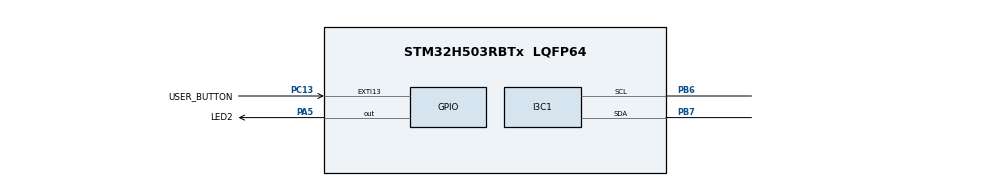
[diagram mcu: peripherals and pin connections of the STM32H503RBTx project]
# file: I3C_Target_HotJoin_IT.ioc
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I3C1.HotJoinRequest=ENABLE
I3C1.Identifier=0xC6
I3C1.MIPIIdentifier=DEVICE_ID
I3C1.Register1=0x000000f8
I3C1.hexBusAvailableDuration=0xf8
Mcu.Family=STM32H5
Mcu.Name=STM32H503RBTx
Mcu.Package=LQFP64
Mcu.UserConstants=DEVICE_ID,0x01
NVIC.EXTI13_IRQn=true\:0\:0\:false\:false\:true\:true\:true\:true
NVIC.I3C1_ER_IRQn=true\:0\:0\:false\:false\:true\:true\:true\:true
NVIC.I3C1_EV_IRQn=true\:0\:0\:false\:false\:true\:true\:true\:true
NVIC.PriorityGroup=NVIC_PRIORITYGROUP_4
PA5.GPIO_Label=LED2
PA5.Signal=GPIO_Output
PB6.Mode=Target
PB6.Signal=I3C1_SCL
PB7.Mode=Target
PB7.Signal=I3C1_SDA
PC13.GPIO_Label=USER_BUTTON
PC13.GPIO_PuPd=GPIO_PULLDOWN
PC13.Signal=GPXTI13
PH0-OSC_IN(PH0).Mode=HSE-External-Oscillator
PH0-OSC_IN(PH0).Signal=RCC_OSC_IN
PH1-OSC_OUT(PH1).Mode=HSE-External-Oscillator
PH1-OSC_OUT(PH1).Signal=RCC_OSC_OUT
ProjectManager.HeapSize=0x200
ProjectManager.StackSize=0x400
ProjectManager.TargetToolchain=EWARM V9.20
RCC.ADCFreq_Value=250000000
RCC.AHBFreq_Value=250000000
RCC.APB1Freq_Value=250000000
RCC.APB1TimFreq_Value=250000000
RCC.APB2Freq_Value=250000000
RCC.APB2TimFreq_Value=250000000
RCC.APB3Freq_Value=250000000
RCC.CSI_VALUE=4000000
RCC.CortexFreq_Value=250000000
RCC.EPOD_VALUE=24000000
RCC.HCLKFreq_Value=250000000
RCC.HSE_VALUE=24000000
RCC.HSI48_VALUE=48000000
RCC.HSIDiv=RCC_HSI_DIV1
RCC.HSI_VALUE=64000000
RCC.LSE_VALUE=32768
RCC.LSIRC_VALUE=32000
RCC.PLLFRACN=0
RCC.PLLM=12
RCC.PLLN=250
RCC.PLLSourceVirtual=RCC_PLL1_SOURCE_HSE
RCC.PWR_Regulator_Voltage_Scale=PWR_REGULATOR_VOLTAGE_SCALE0
RCC.SYSCLKFreq_VALUE=250000000
RCC.SYSCLKSource=RCC_SYSCLKSOURCE_PLLCLK
RCC.USBFreq_Value=48000000
RCC.VCOOutputFreq_Value=500000000
VP_ICACHE_VS_ICACHE.Mode=DefaultMode
VP_PWR_VS_SECSignals.Mode=Security/Privilege
board=custom

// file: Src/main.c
/* USER CODE BEGIN Header */
/**
  ******************************************************************************
  * @file    I3C/I3C_Target_HotJoin_IT/Src/main.c
  * @author  MCD Application Team
  * @brief   This sample code shows how to use STM32H5xx I3C LL API to
  *          launch a HotJoin procedure to a Controller with a communication
  *          process based on Interrupt transfer.
  ******************************************************************************
  * @attention
  *
  * Copyright (c) 2023 STMicroelectronics.
  * All rights reserved.
  *
  * This software is licensed under terms that can be found in the LICENSE file
  * in the root directory of this software component.
  * If no LICENSE file comes with this software, it is provided AS-IS.
  *
  ******************************************************************************
  */
/* USER CODE END Header */
#include "main.h"

/* USER CODE BEGIN PV */
__IO uint8_t ubButtonPress = 0;

/*The returned dynamic address value after the hot join process.*/
__IO uint8_t ubDynamicAddress;

/* Completion status */
__IO uint8_t ubHJComplete = 0;
/* USER CODE END PV */

void SystemClock_Config(void);
static void MX_GPIO_Init(void);
static void MX_I3C1_Init(void);
static void MX_ICACHE_Init(void);
/* USER CODE BEGIN PFP */
void LED_On(void);
void LED_Off(void);
void LED_Toggle(void);
void LED_Blinking(uint32_t Period);
void WaitForUserButtonPress(void);
void Handle_HOTJOIN_Target(void);
/* USER CODE END PFP */

int main(void)
{

  /* MCU Configuration--------------------------------------------------------*/

  /* Reset of all peripherals, Initializes the Flash interface and the Systick. */

  /* System interrupt init*/
  NVIC_SetPriorityGrouping(NVIC_PRIORITYGROUP_4);

  /* SysTick_IRQn interrupt configuration */
  NVIC_SetPriority(SysTick_IRQn, NVIC_EncodePriority(NVIC_GetPriorityGrouping(),15, 0));

  /* Configure the system clock */
  SystemClock_Config();

  /* Initialize all configured peripherals */
  MX_GPIO_Init();
  MX_I3C1_Init();
  MX_ICACHE_Init();
  /* USER CODE BEGIN 2 */
  /* Set LED2 Off */
  LED_Off();

  /*##- Request a Hot Join to the Controller #############################*/

  /* Wait for USER push-button press to start transfer */
  WaitForUserButtonPress();

  /* Handle HotJoin request */
  Handle_HOTJOIN_Target();

  /* Wait end of HJ completion, corresponding to the end of
  Dynamic Address Assignment procedure */
  while(ubHJComplete == 0U);
  /* USER CODE END 2 */

  /* Infinite loop */
  while (1)
  {

  }
}

void SystemClock_Config(void)
{
  LL_FLASH_SetLatency(LL_FLASH_LATENCY_5);
  while(LL_FLASH_GetLatency()!= LL_FLASH_LATENCY_5)
  {
  }

  LL_PWR_SetRegulVoltageScaling(LL_PWR_REGU_VOLTAGE_SCALE0);
  while (LL_PWR_IsActiveFlag_VOS() == 0)
  {
  }
  LL_RCC_HSE_Enable();

   /* Wait till HSE is ready */
  while(LL_RCC_HSE_IsReady() != 1)
  {
  }

  LL_RCC_PLL1_SetSource(LL_RCC_PLL1SOURCE_HSE);
  LL_RCC_PLL1_SetVCOInputRange(LL_RCC_PLLINPUTRANGE_2_4);
  LL_RCC_PLL1_SetVCOOutputRange(LL_RCC_PLLVCORANGE_WIDE);
  LL_RCC_PLL1_SetM(12);
  LL_RCC_PLL1_SetN(250);
  LL_RCC_PLL1_SetP(2);
  LL_RCC_PLL1_SetQ(2);
  LL_RCC_PLL1_SetR(2);
  LL_RCC_PLL1P_Enable();
  LL_RCC_PLL1_Enable();

   /* Wait till PLL is ready */
  while(LL_RCC_PLL1_IsReady() != 1)
  {
  }

  LL_RCC_SetSysClkSource(LL_RCC_SYS_CLKSOURCE_PLL1);

   /* Wait till System clock is ready */
  while(LL_RCC_GetSysClkSource() != LL_RCC_SYS_CLKSOURCE_STATUS_PLL1)
  {
  }

  LL_RCC_SetAHBPrescaler(LL_RCC_SYSCLK_DIV_1);
  LL_RCC_SetAPB1Prescaler(LL_RCC_APB1_DIV_1);
  LL_RCC_SetAPB2Prescaler(LL_RCC_APB2_DIV_1);
  LL_RCC_SetAPB3Prescaler(LL_RCC_APB3_DIV_1);

  LL_Init1msTick(250000000);

  LL_SetSystemCoreClock(250000000);
}

static void MX_I3C1_Init(void)
{

  LL_GPIO_InitTypeDef GPIO_InitStruct = {0};

  LL_RCC_SetI3CClockSource(LL_RCC_I3C1_CLKSOURCE_PCLK1);

  /* Peripheral clock enable */
  LL_APB1_GRP1_EnableClock(LL_APB1_GRP1_PERIPH_I3C1);

  LL_AHB2_GRP1_EnableClock(LL_AHB2_GRP1_PERIPH_GPIOB);
  /**I3C1 GPIO Configuration
  PB6   ------> I3C1_SCL
  PB7   ------> I3C1_SDA
  */
  GPIO_InitStruct.Pin = LL_GPIO_PIN_6|LL_GPIO_PIN_7;
  GPIO_InitStruct.Mode = LL_GPIO_MODE_ALTERNATE;
  GPIO_InitStruct.Speed = LL_GPIO_SPEED_FREQ_VERY_HIGH;
  GPIO_InitStruct.Pull = LL_GPIO_PULL_NO;
  GPIO_InitStruct.Alternate = LL_GPIO_AF_3;
  LL_GPIO_Init(GPIOB, &GPIO_InitStruct);

  /* I3C1 interrupt Init */
  NVIC_SetPriority(I3C1_EV_IRQn, NVIC_EncodePriority(NVIC_GetPriorityGrouping(),0, 0));
  NVIC_EnableIRQ(I3C1_EV_IRQn);
  NVIC_SetPriority(I3C1_ER_IRQn, NVIC_EncodePriority(NVIC_GetPriorityGrouping(),0, 0));
  NVIC_EnableIRQ(I3C1_ER_IRQn);

  /** I3C Initialization
  */
  LL_I3C_SetMode(I3C1, LL_I3C_MODE_TARGET);
  LL_I3C_SetAvalTiming(I3C1, 0x000000f8);

  /** Configure FIFO
  */
  LL_I3C_SetRxFIFOThreshold(I3C1, LL_I3C_RXFIFO_THRESHOLD_1_4);
  LL_I3C_SetTxFIFOThreshold(I3C1, LL_I3C_TXFIFO_THRESHOLD_1_4);
  LL_I3C_DisableControlFIFO(I3C1);
  LL_I3C_DisableStatusFIFO(I3C1);

  /** Configure Target
  */
  LL_I3C_SetDeviceCharacteristics(I3C1, 0xC6);
  LL_I3C_SetMIPIInstanceID(I3C1, DEVICE_ID);
  LL_I3C_DisableControllerRoleReq(I3C1);
  LL_I3C_EnableHotJoin(I3C1);
  LL_I3C_DisableIBI(I3C1);
  LL_I3C_SetDeviceIBIPayload(I3C1, LL_I3C_IBI_NO_ADDITIONAL_DATA);
  LL_I3C_ConfigNbIBIAddData(I3C1, LL_I3C_PAYLOAD_1_BYTE);
  LL_I3C_SetMaxReadLength(I3C1, 0);
  LL_I3C_SetMaxWriteLength(I3C1, 0);
  LL_I3C_SetDeviceCapabilityOnBus(I3C1, LL_I3C_DEVICE_ROLE_AS_TARGET);
  LL_I3C_SetGrpAddrHandoffSupport(I3C1, LL_I3C_HANDOFF_GRP_ADDR_NOT_SUPPORTED);
  LL_I3C_SetDataTurnAroundTime(I3C1, LL_I3C_TURNAROUND_TIME_TSCO_LESS_12NS);
  LL_I3C_SetMiddleByteTurnAround(I3C1, 0);
  LL_I3C_SetDataSpeedLimitation(I3C1, LL_I3C_NO_DATA_SPEED_LIMITATION);
  LL_I3C_SetMaxDataSpeedFormat(I3C1, LL_I3C_GETMXDS_FORMAT_1);
  LL_I3C_SetHandoffActivityState(I3C1, LL_I3C_HANDOFF_ACTIVITY_STATE_0);
  LL_I3C_SetControllerHandoffDelayed(I3C1, LL_I3C_HANDOFF_NOT_DELAYED);
  LL_I3C_SetPendingReadMDB(I3C1, LL_I3C_MDB_NO_PENDING_READ_NOTIFICATION);

  /** Enable the selected I3C peripheral
  */
  LL_I3C_Enable(I3C1);
  /* USER CODE BEGIN I3C1_Init 2 */
  LL_I3C_EnableIT_DAUPD(I3C1);
  LL_I3C_EnableIT_ERR(I3C1);
  /* USER CODE END I3C1_Init 2 */

}

static void MX_ICACHE_Init(void)
{

  /** Enable instruction cache (default 2-ways set associative cache)
  */
  LL_ICACHE_Enable();

}

static void MX_GPIO_Init(void)
{
  LL_EXTI_InitTypeDef EXTI_InitStruct = {0};
  LL_GPIO_InitTypeDef GPIO_InitStruct = {0};

  /* GPIO Ports Clock Enable */
  LL_AHB2_GRP1_EnableClock(LL_AHB2_GRP1_PERIPH_GPIOC);
  LL_AHB2_GRP1_EnableClock(LL_AHB2_GRP1_PERIPH_GPIOH);
  LL_AHB2_GRP1_EnableClock(LL_AHB2_GRP1_PERIPH_GPIOA);
  LL_AHB2_GRP1_EnableClock(LL_AHB2_GRP1_PERIPH_GPIOB);

  /**/
  LL_GPIO_ResetOutputPin(LED2_GPIO_Port, LED2_Pin);

  /**/
  LL_EXTI_SetEXTISource(LL_EXTI_EXTI_PORTC, LL_EXTI_EXTI_LINE13);

  /**/
  EXTI_InitStruct.Line_0_31 = LL_EXTI_LINE_13;
  EXTI_InitStruct.Line_32_63 = LL_EXTI_LINE_NONE;
  EXTI_InitStruct.LineCommand = ENABLE;
  EXTI_InitStruct.Mode = LL_EXTI_MODE_IT;
  EXTI_InitStruct.Trigger = LL_EXTI_TRIGGER_RISING;
  LL_EXTI_Init(&EXTI_InitStruct);

  /**/
  LL_GPIO_SetPinPull(USER_BUTTON_GPIO_Port, USER_BUTTON_Pin, LL_GPIO_PULL_DOWN);

  /**/
  LL_GPIO_SetPinMode(USER_BUTTON_GPIO_Port, USER_BUTTON_Pin, LL_GPIO_MODE_INPUT);

  /**/
  GPIO_InitStruct.Pin = LED2_Pin;
  GPIO_InitStruct.Mode = LL_GPIO_MODE_OUTPUT;
  GPIO_InitStruct.Speed = LL_GPIO_SPEED_FREQ_LOW;
  GPIO_InitStruct.OutputType = LL_GPIO_OUTPUT_PUSHPULL;
  GPIO_InitStruct.Pull = LL_GPIO_PULL_NO;
  LL_GPIO_Init(LED2_GPIO_Port, &GPIO_InitStruct);

  /* EXTI interrupt init*/
  NVIC_SetPriority(EXTI13_IRQn, NVIC_EncodePriority(NVIC_GetPriorityGrouping(),0, 0));
  NVIC_EnableIRQ(EXTI13_IRQn);

}

/* USER CODE BEGIN 4 */
/**
  * @brief  This Function handle Target events to perform a HotJoin process
  * @note  This function is composed in one step :
  *        -1- Initiate the Hot Join request.
  * @param  None
  * @retval None
  */
void Handle_HOTJOIN_Target(void)
{
  /* (1) Initiate a Hot Join Request to the Controller connected on the bus ***********************/
  /* Target initiate a Start condition to inform Controller that Target request a Dynamic Address.
  */
  LL_I3C_TargetHandleMessage(I3C1, LL_I3C_TARGET_MTYPE_HOT_JOIN, 0U);
}

/**
  * @brief  Turn-on LED2.
  * @param  None
  * @retval None
  */
void LED_On(void)
{
  /* Turn LED2 on */
  LL_GPIO_SetOutputPin(LED2_GPIO_Port, LED2_Pin);
}

/**
  * @brief  Turn-off LED2.
  * @param  None
  * @retval None
  */
void LED_Off(void)
{
  /* Turn LED2 off */
  LL_GPIO_ResetOutputPin(LED2_GPIO_Port, LED2_Pin);
}

/**
  * @brief  Toggle LED2.
  * @param  None
  * @retval None
  */
void LED_Toggle(void)
{
  /* Turn LED2 on */
  LL_GPIO_TogglePin(LED2_GPIO_Port, LED2_Pin);
}

/**
  * @brief  Set LED2 to Blinking mode for an infinite loop (toggle period based on value provided as input parameter).
  * @param  Period : Period of time (in ms) between each toggling of LED
  *   This parameter can be user defined values. Pre-defined values used in that example are :
  *     @arg LED_BLINK_FAST : Fast Blinking
  *     @arg LED_BLINK_SLOW : Slow Blinking
  *     @arg LED_BLINK_ERROR : Error specific Blinking
  * @retval None
  */
void LED_Blinking(uint32_t Period)
{
  /* Turn LED2 on */
  LED_On();

  /* Toggle IO in an infinite loop */
  while (1)
  {
    LED_Toggle();
    LL_mDelay(Period);
  }
}

/******************************************************************************/
/*   IRQ HANDLER TREATMENT Functions                                          */
/******************************************************************************/
/**
  * @brief  Wait for USER push-button press to start transfer.
  * @param  None
  * @retval None
  */
/*  */
void WaitForUserButtonPress(void)
{
  while (ubButtonPress == 0)
  {
    LED_Toggle();
    LL_mDelay(LED_BLINK_FAST);
  }
  /* Turn LED2 off */
  LED_Off();

  /* Reset Variable */
  ubButtonPress = 0;
}

/**
  * @brief  Function to manage USER push-button
  * @param  None
  * @retval None
  */
void UserButton_Callback(void)
{
  /* Update USER push-button variable : to be checked in waiting loop in main program */
  ubButtonPress = 1;
}

/**
  * @brief  Target Notification callback.
  * @retval None
  */
void Target_Notification_Callback(void)
{
  ubHJComplete = 1U;

  /* Turn LED2 on */
  LED_On();
}
/* USER CODE END 4 */

void Error_Handler(void)
{
  /* USER CODE BEGIN Error_Handler_Debug */
  while (1)
  {
    /* Unexpected event : Set LED2 to Blinking mode to indicate error occurs */
    LED_Blinking(LED_BLINK_ERROR);
  }
  /* USER CODE END Error_Handler_Debug */
}
